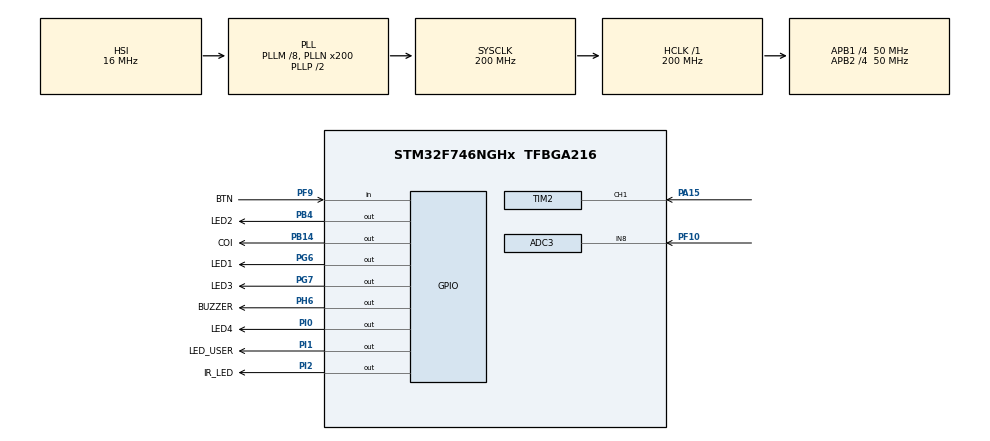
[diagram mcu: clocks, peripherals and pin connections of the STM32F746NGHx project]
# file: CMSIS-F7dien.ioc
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ADC3.Channel-0\#ChannelRegularConversion=ADC_CHANNEL_8
ADC3.ClockPrescaler=ADC_CLOCK_SYNC_PCLK_DIV6
ADC3.ContinuousConvMode=ENABLE
ADC3.DMAContinuousRequests=ENABLE
ADC3.NbrOfConversionFlag=1
ADC3.Rank-0\#ChannelRegularConversion=1
ADC3.SamplingTime-0\#ChannelRegularConversion=ADC_SAMPLETIME_480CYCLES
CORTEX_M7.CPU_DCache=Enabled
CORTEX_M7.CPU_ICache=Enabled
Dma.ADC3.0.Direction=DMA_PERIPH_TO_MEMORY
Dma.ADC3.0.FIFOMode=DMA_FIFOMODE_DISABLE
Dma.ADC3.0.Instance=DMA2_Stream0
Dma.ADC3.0.MemDataAlignment=DMA_MDATAALIGN_HALFWORD
Dma.ADC3.0.MemInc=DMA_MINC_ENABLE
Dma.ADC3.0.Mode=DMA_CIRCULAR
Dma.ADC3.0.PeriphDataAlignment=DMA_PDATAALIGN_HALFWORD
Dma.ADC3.0.PeriphInc=DMA_PINC_DISABLE
Dma.ADC3.0.Priority=DMA_PRIORITY_LOW
Dma.Request0=ADC3
Mcu.Family=STM32F7
Mcu.Name=STM32F746NGHx
Mcu.Package=TFBGA216
NVIC.DMA2_Stream0_IRQn=true\:0\:0\:false\:false\:true\:false\:true
NVIC.PriorityGroup=NVIC_PRIORITYGROUP_4
PA13.Mode=Serial_Wire
PA13.Signal=SYS_JTMS-SWDIO
PA14.Mode=Serial_Wire
PA14.Signal=SYS_JTCK-SWCLK
PA15.Signal=S_TIM2_CH1_ETR
PB14.GPIO_Label=COI
PB14.Signal=GPIO_Output
PB4.GPIO_Label=LED2
PB4.Signal=GPIO_Output
PF10.Mode=IN8
PF10.Signal=ADC3_IN8
PF9.GPIO_Label=BTN
PF9.Signal=GPIO_Input
PG6.GPIO_Label=LED1
PG6.Signal=GPIO_Output
PG7.GPIO_Label=LED3
PG7.Signal=GPIO_Output
PH6.GPIO_Label=BUZZER
PH6.GPIO_PuPd=GPIO_PULLDOWN
PH6.PinState=GPIO_PIN_RESET
PH6.Signal=GPIO_Output
PI0.GPIO_Label=LED4
PI0.Signal=GPIO_Output
PI1.GPIO_Label=LED_USER
PI1.Signal=GPIO_Output
PI2.GPIO_Label=IR_LED
PI2.Signal=GPIO_Output
ProjectManager.HeapSize=0x200
ProjectManager.StackSize=0x800
ProjectManager.TargetToolchain=STM32CubeIDE
RCC.AHBFreq_Value=200000000
RCC.APB1CLKDivider=RCC_HCLK_DIV4
RCC.APB1Freq_Value=50000000
RCC.APB1TimFreq_Value=100000000
RCC.APB2CLKDivider=RCC_HCLK_DIV4
RCC.APB2Freq_Value=50000000
RCC.APB2TimFreq_Value=100000000
RCC.CortexFreq_Value=200000000
RCC.HCLKFreq_Value=200000000
RCC.HSE_VALUE=25000000
RCC.HSI_VALUE=16000000
RCC.LSE_VALUE=32768
RCC.PLLM=8
RCC.PLLN=200
RCC.SYSCLKFreq_VALUE=200000000
RCC.SYSCLKSource=RCC_SYSCLKSOURCE_PLLCLK
RCC.USBFreq_Value=200000000
RCC.VCOOutputFreq_Value=400000000
SH.S_TIM2_CH1_ETR.0=TIM2_CH1,Input_Capture1_from_TI1
STMicroelectronics.X-CUBE-AI.5.2.0.ActivationBufferSizeList=59496
STMicroelectronics.X-CUBE-AI.5.2.0.ApplicationCcArtificialOoIntelligenceJjApplication=ApplicationTemplate
STMicroelectronics.X-CUBE-AI.5.2.0.HeapSize=0x200
STMicroelectronics.X-CUBE-AI.5.2.0.InternalRamActivationBufferMaxSize=AI_NETWORK_DATA_ACTIVATIONS_SIZE
STMicroelectronics.X-CUBE-AI.5.2.0.LatestDirectoryUsed-58929bd7b9af62fd93e2d39a7155d022ef8761deb050f1a1022ba4203e6859d0=E\:\\Dien_Project\\models
STMicroelectronics.X-CUBE-AI.5.2.0.MaximumNumberOfInputLayer=1
STMicroelectronics.X-CUBE-AI.5.2.0.MaximumNumberOfOutputLayer=1
STMicroelectronics.X-CUBE-AI.5.2.0.MaximumSizeOfInputLayer=AI_NETWORK_IN_1_SIZE_BYTES
STMicroelectronics.X-CUBE-AI.5.2.0.MaximumSizeOfOutputLayer=AI_NETWORK_OUT_1_SIZE_BYTES
STMicroelectronics.X-CUBE-AI.5.2.0.ModelActualCompression-58929bd7b9af62fd93e2d39a7155d022ef8761deb050f1a1022ba4203e6859d0=0.0
STMicroelectronics.X-CUBE-AI.5.2.0.ModelCompression-58929bd7b9af62fd93e2d39a7155d022ef8761deb050f1a1022ba4203e6859d0=1
STMicroelectronics.X-CUBE-AI.5.2.0.ModelFlashOccupation-58929bd7b9af62fd93e2d39a7155d022ef8761deb050f1a1022ba4203e6859d0=67176
STMicroelectronics.X-CUBE-AI.5.2.0.ModelHashList=58929bd7b9af62fd93e2d39a7155d022ef8761deb050f1a1022ba4203e6859d0
STMicroelectronics.X-CUBE-AI.5.2.0.ModelKind-58929bd7b9af62fd93e2d39a7155d022ef8761deb050f1a1022ba4203e6859d0=KERAS
STMicroelectronics.X-CUBE-AI.5.2.0.ModelMacc-58929bd7b9af62fd93e2d39a7155d022ef8761deb050f1a1022ba4203e6859d0=3376694
STMicroelectronics.X-CUBE-AI.5.2.0.ModelName-58929bd7b9af62fd93e2d39a7155d022ef8761deb050f1a1022ba4203e6859d0=network
STMicroelectronics.X-CUBE-AI.5.2.0.ModelNameList=network
STMicroelectronics.X-CUBE-AI.5.2.0.ModelRamOccupation-58929bd7b9af62fd93e2d39a7155d022ef8761deb050f1a1022ba4203e6859d0=59496
STMicroelectronics.X-CUBE-AI.5.2.0.ModelStructureFile-58929bd7b9af62fd93e2d39a7155d022ef8761deb050f1a1022ba4203e6859d0=E\:\\Dien_Project\\models\\model_1_3_21.h5
STMicroelectronics.X-CUBE-AI.5.2.0.ModelType-58929bd7b9af62fd93e2d39a7155d022ef8761deb050f1a1022ba4203e6859d0=Saved model
STMicroelectronics.X-CUBE-AI.5.2.0.StackSize=0x800
STMicroelectronics.X-CUBE-AI.5.2.0.ValidationInputFile-58929bd7b9af62fd93e2d39a7155d022ef8761deb050f1a1022ba4203e6859d0=E\:\\Dien_Project\\X_test_mel.csv
STMicroelectronics.X-CUBE-AI.5.2.0.ValidationOutputFile-58929bd7b9af62fd93e2d39a7155d022ef8761deb050f1a1022ba4203e6859d0=E\:\\Dien_Project\\y_test_mel.csv
STMicroelectronics.X-CUBE-AI.5.2.0.WorkingBufferStartAddrList=0xFFFFFFFF
STMicroelectronics.X-CUBE-AI.5.2.0.XAaCUBEAaAICcArtificialOoIntelligenceJjCore=true
TIM2.Channel-Input_Capture1_from_TI1=TIM_CHANNEL_1
TIM2.ICFilter_CH1=15
TIM2.ICPolarity_CH1=TIM_INPUTCHANNELPOLARITY_BOTHEDGE
TIM2.Prescaler=100
VP_CRC_VS_CRC.Mode=CRC_Activate
VP_STMicroelectronics.X-CUBE-AI_VS_ArtificialOoIntelligenceJjApplication_5.2.0.Mode=ArtificialOoIntelligenceJjApplication
VP_STMicroelectronics.X-CUBE-AI_VS_ArtificialOoIntelligenceJjXAaCUBEAaAI_5.2.0.Mode=ArtificialOoIntelligenceJjXAaCUBEAaAI
VP_TIM2_VS_ClockSourceINT.Mode=Internal
board=custom

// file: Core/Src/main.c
/* USER CODE BEGIN Header */
/**
  ******************************************************************************
  * @file           : main.c
  * @brief          : Main program body
  ******************************************************************************
  * @attention
  *
  * <h2><center>&copy; Copyright (c) 2021 STMicroelectronics.
  * All rights reserved.</center></h2>
  *
  * This software component is licensed by ST under BSD 3-Clause license,
  * the "License"; You may not use this file except in compliance with the
  * License. You may obtain a copy of the License at:
  *                        opensource.org/licenses/BSD-3-Clause
  *
  ******************************************************************************
  */
/* USER CODE END Header */
#include "main.h"
#include "app_x-cube-ai.h"

/* USER CODE BEGIN Includes */
#include "arm_math.h"
#include "feature_extraction.h"
#include "string.h"
#include <stdlib.h>
#include "math_helper.h"
/* USER CODE END Includes */

/* USER CODE BEGIN PTD */
//-----MelSpectrogram---//
#define HOPLENGTH 		 	512
#define FILL_BUFFER_SIZE 	1024
#define NFFT             	1024
#define NMELS            	30
#define NAUDIO 		   		16896
#define ADC_BUF_LEN 		16896
#define ADCbit		     	12
#define SPECTROGRAM_ROWS 	NMELS
#define SPECTROGRAM_COLS 	32
#define n_label 			10

/* USER CODE END PTD */

/* USER CODE BEGIN PD */
static float32_t aSpectrogram[SPECTROGRAM_ROWS * SPECTROGRAM_COLS];
static float32_t aColBuffer[SPECTROGRAM_ROWS];
static uint32_t SpectrColIndex;
float32_t aWorkingBuffer1[NFFT];

static arm_rfft_fast_instance_f32 S_Rfft;
static MelFilterTypeDef           S_MelFilter;
static SpectrogramTypeDef         S_Spectr;
static MelSpectrogramTypeDef      S_MelSpectr;
/* USER CODE END PD */

/* USER CODE BEGIN PM */
float32_t data_out[10];
uint16_t ADC_buffer[ADC_BUF_LEN];
uint16_t ADC_buffer_sort[ADC_BUF_LEN];
uint32_t ind=0,write=0;
uint32_t i=0;
uint32_t ColIndex=0;
float32_t pBuffer[FILL_BUFFER_SIZE];
uint32_t t1 = 0,t2 ,t, wake = 0, action = 0;
float32_t sample, sample2;
float max_output;
int max_output_ind;
int confirm2;
int confirm1=0;
int confirm3=0;

//--------IR Var---------------//

uint32_t input_capture=0;
uint8_t start=0;
uint32_t array[70]={};
uint8_t array_index=0;
uint16_t time_array[69]={};
//uint16_t us;
uint8_t unstacking=0;
uint8_t send=0;
uint32_t data;
uint8_t thoat_capture=0;
uint32_t us=1000000;
uint8_t count=0;

/* USER CODE END PM */

ADC_HandleTypeDef hadc3;
DMA_HandleTypeDef hdma_adc3;

CRC_HandleTypeDef hcrc;

TIM_HandleTypeDef htim2;

void SystemClock_Config(void);
static void MX_GPIO_Init(void);
static void MX_DMA_Init(void);
static void MX_ADC3_Init(void);
static void MX_CRC_Init(void);
static void MX_TIM2_Init(void);
/* USER CODE BEGIN PFP */
static void PowerTodB(float32_t *pSpectrogram);
void Sort_ADC_buffer(void);
void Mel_array(void);
void Find_max_output_ind();
void Wakeup();
void buzzer_beep();
void buzzer_beep2();
void delay_us(uint16_t us);
void mark(uint16_t time);
void space(uint16_t time);
void sendRaw(uint16_t buf[], uint8_t len, uint8_t khz);
int32_t receive_data(void);

uint16_t  maychieu[67]={9070,4400,680,1570,630,1610,660,470,660,470,660,470,650,470
					,660,470,660,1590,660,1590,660,460,660,1590,690,440,660,1590,
					660,490,660,1590,630,490,640,470,680,450,650,470,660,470,660,1590,660,460,
					660,490,640,1590,660,1590,660,1590,630,1620,680,1570,650,
					470,690,1560,660,1590,660,490,640};   // chuoi bit cua remote may ON/OFF may chieu

uint16_t den[] = {9000,4460,660,500,660,500,670,500,600,500,660,500,660,
					500,670,500,660,500,660,1590,660,1580,660,1590,660,1580,660,
					1580,670,1580,660,1580,670,1580,660,670,670,500,660,1580,660,
					500,670,500,660,500,660,1590,660,500,660,500,670,1580,660,500,660,
					1590,660,1580,670,1580,660,500,660,1590,630};  // so 1 cua remote

uint16_t tivi[] = {9160,4460,630,560,610,550,610,560,600,560,610,560
					,600,560,600,570,600,560,610,1640,600,1640,610,1640,640,
					1640,600,1640,610,1640,610,1640,600,1640,610,560,
					600,1640,610,1640,610,560,600,560,610,560,600,1640
					,610,560,600,1670,580,580,580,590,580,1670,580,
					1660,580,1670,580,580,590,1660,580};   // so 2 cua remote

uint16_t dieuhoa[253]={530,1460,550,440,560,430,570,430,560,430,560,1420,570,1420,570,420,570,1420,560,1430,560,1430,560,1450,530,1450,530,1460,560,1420,
                       570,1420,560,430,570,430,560,430,560,1430,560,1420,570,1420,560,440,550,460,540,460,530,460,480,510,530,1460,560,430,560,430,570,1420,560,
               1430,560,430,560,430,570,1420,560,1430,560,430,560,440,560,450,540,450,510,490,480,510,530,460,560,1430,560,1430,560,1420,570,1420,560,460,
          //96
               560,440,560,430,560,430,570,430,560,430,560,430,570,1420,560,1430,560,1420,560,1430,560,2930,3030,8900,550,1450,510,
               490,530,460,560,430,570,430,560,430,560,430,570,430,560,430,560,1430,560,430,560,430,570,1420,560,440,560,1430,550,1450,500,1490,530,1450,
               570,1420,560,1430,560,430,560,430,570,430,560,430,560,430,570,430,560,430,560,440,560,450,540,450,540,460,480,510,510,490,530,460,560,
               430,560,430,570,430,560,430,560,430,570,430,560,430,560,430,570,430,560,430,560,440,560,430,560,460,530,460,540,450,480,520,530,
               460,530,460,560,440,560,430,560,430,570,430,560,2920,3040,8860,580,1430,560,430,560,440,560,430,560,430,560,460,540,450,540,460,500};

//-----Mel Spectrogram ----//
static void Preprocessing_Init(void);
/* USER CODE END PFP */

int main(void)
{

  /* Enable I-Cache---------------------------------------------------------*/
  SCB_EnableICache();

  /* Enable D-Cache---------------------------------------------------------*/
  SCB_EnableDCache();

  /* MCU Configuration--------------------------------------------------------*/

  /* Reset of all peripherals, Initializes the Flash interface and the Systick. */
  HAL_Init();

  /* Configure the system clock */
  SystemClock_Config();

  /* Initialize all configured peripherals */
  MX_GPIO_Init();
  MX_DMA_Init();
  MX_ADC3_Init();
  MX_CRC_Init();
  MX_TIM2_Init();
  MX_X_CUBE_AI_Init();
  /* USER CODE BEGIN 2 */
  Preprocessing_Init();
  SpectrColIndex = 0;
  HAL_ADC_Start_DMA(&hadc3, (uint32_t *)ADC_buffer, ADC_BUF_LEN);
  HAL_TIM_IC_Start_IT(&htim2,TIM_CHANNEL_1);
  HAL_Delay(1000);

  /* USER CODE END 2 */

  /* Infinite loop */
  /* USER CODE BEGIN WHILE */
  while (1)
  {
	  ind=hdma_adc3.Instance->NDTR;
	  write=ADC_BUF_LEN-ind;
	  Sort_ADC_buffer();
	  Mel_array();
	  PowerTodB(aSpectrogram);
	  ai_run(aSpectrogram, data_out);
	  Find_max_output_ind();
	  Wakeup();

    /* USER CODE END WHILE */

  //MX_X_CUBE_AI_Process();
  }
}

void SystemClock_Config(void)
{
  RCC_OscInitTypeDef RCC_OscInitStruct = {0};
  RCC_ClkInitTypeDef RCC_ClkInitStruct = {0};

  /** Configure the main internal regulator output voltage
  */
  __HAL_RCC_PWR_CLK_ENABLE();
  __HAL_PWR_VOLTAGESCALING_CONFIG(PWR_REGULATOR_VOLTAGE_SCALE1);
  /** Initializes the RCC Oscillators according to the specified parameters
  * in the RCC_OscInitTypeDef structure.
  */
  RCC_OscInitStruct.OscillatorType = RCC_OSCILLATORTYPE_HSI;
  RCC_OscInitStruct.HSIState = RCC_HSI_ON;
  RCC_OscInitStruct.HSICalibrationValue = RCC_HSICALIBRATION_DEFAULT;
  RCC_OscInitStruct.PLL.PLLState = RCC_PLL_ON;
  RCC_OscInitStruct.PLL.PLLSource = RCC_PLLSOURCE_HSI;
  RCC_OscInitStruct.PLL.PLLM = 8;
  RCC_OscInitStruct.PLL.PLLN = 200;
  RCC_OscInitStruct.PLL.PLLP = RCC_PLLP_DIV2;
  RCC_OscInitStruct.PLL.PLLQ = 2;
  if (HAL_RCC_OscConfig(&RCC_OscInitStruct) != HAL_OK)
  {
    Error_Handler();
  }
  /** Activate the Over-Drive mode
  */
  if (HAL_PWREx_EnableOverDrive() != HAL_OK)
  {
    Error_Handler();
  }
  /** Initializes the CPU, AHB and APB buses clocks
  */
  RCC_ClkInitStruct.ClockType = RCC_CLOCKTYPE_HCLK|RCC_CLOCKTYPE_SYSCLK
                              |RCC_CLOCKTYPE_PCLK1|RCC_CLOCKTYPE_PCLK2;
  RCC_ClkInitStruct.SYSCLKSource = RCC_SYSCLKSOURCE_PLLCLK;
  RCC_ClkInitStruct.AHBCLKDivider = RCC_SYSCLK_DIV1;
  RCC_ClkInitStruct.APB1CLKDivider = RCC_HCLK_DIV4;
  RCC_ClkInitStruct.APB2CLKDivider = RCC_HCLK_DIV4;

  if (HAL_RCC_ClockConfig(&RCC_ClkInitStruct, FLASH_LATENCY_6) != HAL_OK)
  {
    Error_Handler();
  }
}

static void MX_ADC3_Init(void)
{

  ADC_ChannelConfTypeDef sConfig = {0};

  /** Configure the global features of the ADC (Clock, Resolution, Data Alignment and number of conversion)
  */
  hadc3.Instance = ADC3;
  hadc3.Init.ClockPrescaler = ADC_CLOCK_SYNC_PCLK_DIV6;
  hadc3.Init.Resolution = ADC_RESOLUTION_12B;
  hadc3.Init.ScanConvMode = ADC_SCAN_DISABLE;
  hadc3.Init.ContinuousConvMode = ENABLE;
  hadc3.Init.DiscontinuousConvMode = DISABLE;
  hadc3.Init.ExternalTrigConvEdge = ADC_EXTERNALTRIGCONVEDGE_NONE;
  hadc3.Init.ExternalTrigConv = ADC_SOFTWARE_START;
  hadc3.Init.DataAlign = ADC_DATAALIGN_RIGHT;
  hadc3.Init.NbrOfConversion = 1;
  hadc3.Init.DMAContinuousRequests = ENABLE;
  hadc3.Init.EOCSelection = ADC_EOC_SINGLE_CONV;
  if (HAL_ADC_Init(&hadc3) != HAL_OK)
  {
    Error_Handler();
  }
  /** Configure for the selected ADC regular channel its corresponding rank in the sequencer and its sample time.
  */
  sConfig.Channel = ADC_CHANNEL_8;
  sConfig.Rank = ADC_REGULAR_RANK_1;
  sConfig.SamplingTime = ADC_SAMPLETIME_480CYCLES;
  if (HAL_ADC_ConfigChannel(&hadc3, &sConfig) != HAL_OK)
  {
    Error_Handler();
  }

}

static void MX_CRC_Init(void)
{

  hcrc.Instance = CRC;
  hcrc.Init.DefaultPolynomialUse = DEFAULT_POLYNOMIAL_ENABLE;
  hcrc.Init.DefaultInitValueUse = DEFAULT_INIT_VALUE_ENABLE;
  hcrc.Init.InputDataInversionMode = CRC_INPUTDATA_INVERSION_NONE;
  hcrc.Init.OutputDataInversionMode = CRC_OUTPUTDATA_INVERSION_DISABLE;
  hcrc.InputDataFormat = CRC_INPUTDATA_FORMAT_BYTES;
  if (HAL_CRC_Init(&hcrc) != HAL_OK)
  {
    Error_Handler();
  }

}

static void MX_TIM2_Init(void)
{

  TIM_ClockConfigTypeDef sClockSourceConfig = {0};
  TIM_MasterConfigTypeDef sMasterConfig = {0};
  TIM_IC_InitTypeDef sConfigIC = {0};

  htim2.Instance = TIM2;
  htim2.Init.Prescaler = 100;
  htim2.Init.CounterMode = TIM_COUNTERMODE_UP;
  htim2.Init.Period = 4294967295;
  htim2.Init.ClockDivision = TIM_CLOCKDIVISION_DIV1;
  htim2.Init.AutoReloadPreload = TIM_AUTORELOAD_PRELOAD_DISABLE;
  if (HAL_TIM_Base_Init(&htim2) != HAL_OK)
  {
    Error_Handler();
  }
  sClockSourceConfig.ClockSource = TIM_CLOCKSOURCE_INTERNAL;
  if (HAL_TIM_ConfigClockSource(&htim2, &sClockSourceConfig) != HAL_OK)
  {
    Error_Handler();
  }
  if (HAL_TIM_IC_Init(&htim2) != HAL_OK)
  {
    Error_Handler();
  }
  sMasterConfig.MasterOutputTrigger = TIM_TRGO_RESET;
  sMasterConfig.MasterSlaveMode = TIM_MASTERSLAVEMODE_DISABLE;
  if (HAL_TIMEx_MasterConfigSynchronization(&htim2, &sMasterConfig) != HAL_OK)
  {
    Error_Handler();
  }
  sConfigIC.ICPolarity = TIM_INPUTCHANNELPOLARITY_BOTHEDGE;
  sConfigIC.ICSelection = TIM_ICSELECTION_DIRECTTI;
  sConfigIC.ICPrescaler = TIM_ICPSC_DIV1;
  sConfigIC.ICFilter = 15;
  if (HAL_TIM_IC_ConfigChannel(&htim2, &sConfigIC, TIM_CHANNEL_1) != HAL_OK)
  {
    Error_Handler();
  }

}

static void MX_DMA_Init(void)
{

  /* DMA controller clock enable */
  __HAL_RCC_DMA2_CLK_ENABLE();

  /* DMA interrupt init */
  /* DMA2_Stream0_IRQn interrupt configuration */
  HAL_NVIC_SetPriority(DMA2_Stream0_IRQn, 0, 0);
  HAL_NVIC_EnableIRQ(DMA2_Stream0_IRQn);

}

static void MX_GPIO_Init(void)
{
  GPIO_InitTypeDef GPIO_InitStruct = {0};

  /* GPIO Ports Clock Enable */
  __HAL_RCC_GPIOB_CLK_ENABLE();
  __HAL_RCC_GPIOA_CLK_ENABLE();
  __HAL_RCC_GPIOI_CLK_ENABLE();
  __HAL_RCC_GPIOG_CLK_ENABLE();
  __HAL_RCC_GPIOF_CLK_ENABLE();
  __HAL_RCC_GPIOH_CLK_ENABLE();

  /*Configure GPIO pin Output Level */
  HAL_GPIO_WritePin(GPIOB, LED2_Pin|COI_Pin, GPIO_PIN_RESET);

  /*Configure GPIO pin Output Level */
  HAL_GPIO_WritePin(GPIOI, IR_LED_Pin|LED_USER_Pin|LED4_Pin, GPIO_PIN_RESET);

  /*Configure GPIO pin Output Level */
  HAL_GPIO_WritePin(GPIOG, LED3_Pin|LED1_Pin, GPIO_PIN_RESET);

  /*Configure GPIO pin Output Level */
  HAL_GPIO_WritePin(BUZZER_GPIO_Port, BUZZER_Pin, GPIO_PIN_RESET);

  /*Configure GPIO pins : LED2_Pin COI_Pin */
  GPIO_InitStruct.Pin = LED2_Pin|COI_Pin;
  GPIO_InitStruct.Mode = GPIO_MODE_OUTPUT_PP;
  GPIO_InitStruct.Pull = GPIO_NOPULL;
  GPIO_InitStruct.Speed = GPIO_SPEED_FREQ_LOW;
  HAL_GPIO_Init(GPIOB, &GPIO_InitStruct);

  /*Configure GPIO pins : IR_LED_Pin LED_USER_Pin LED4_Pin */
  GPIO_InitStruct.Pin = IR_LED_Pin|LED_USER_Pin|LED4_Pin;
  GPIO_InitStruct.Mode = GPIO_MODE_OUTPUT_PP;
  GPIO_InitStruct.Pull = GPIO_NOPULL;
  GPIO_InitStruct.Speed = GPIO_SPEED_FREQ_LOW;
  HAL_GPIO_Init(GPIOI, &GPIO_InitStruct);

  /*Configure GPIO pins : LED3_Pin LED1_Pin */
  GPIO_InitStruct.Pin = LED3_Pin|LED1_Pin;
  GPIO_InitStruct.Mode = GPIO_MODE_OUTPUT_PP;
  GPIO_InitStruct.Pull = GPIO_NOPULL;
  GPIO_InitStruct.Speed = GPIO_SPEED_FREQ_LOW;
  HAL_GPIO_Init(GPIOG, &GPIO_InitStruct);

  /*Configure GPIO pin : BTN_Pin */
  GPIO_InitStruct.Pin = BTN_Pin;
  GPIO_InitStruct.Mode = GPIO_MODE_INPUT;
  GPIO_InitStruct.Pull = GPIO_NOPULL;
  HAL_GPIO_Init(BTN_GPIO_Port, &GPIO_InitStruct);

  /*Configure GPIO pin : BUZZER_Pin */
  GPIO_InitStruct.Pin = BUZZER_Pin;
  GPIO_InitStruct.Mode = GPIO_MODE_OUTPUT_PP;
  GPIO_InitStruct.Pull = GPIO_PULLDOWN;
  GPIO_InitStruct.Speed = GPIO_SPEED_FREQ_LOW;
  HAL_GPIO_Init(BUZZER_GPIO_Port, &GPIO_InitStruct);

}

/* USER CODE BEGIN 4 */
//-----Sắp xếp lại dữ liệu----//
void Sort_ADC_buffer()
{
	for(int i=0;i<ind;i++)
		   ADC_buffer_sort[i]=ADC_buffer[i+write];
	for(int i=0;i<write;i++)
		   ADC_buffer_sort[i+ind]=ADC_buffer[i];
}

//-----------Mảng MelSpectrogram 30x32-----//
void Mel_array()
{
	for (ColIndex=0; ColIndex<SPECTROGRAM_COLS; ColIndex++)
	{
		for(int i=0; i<1024; i++)
		  	pBuffer[i]=(ADC_buffer_sort[ColIndex*HOPLENGTH+i]-2047.0)/2047.0;
		MelSpectrogramColumn(&S_MelSpectr, pBuffer, aColBuffer);
		for (uint32_t j = 0; j < NMELS; j++)
		{
		  	aSpectrogram[j * SPECTROGRAM_COLS + ColIndex] = aColBuffer[j];
		}
	}
}

//-----Tìm vị trí và giá trị lớn nhất của output---//
void Find_max_output_ind()
{
	confirm2=max_output_ind;
	max_output_ind=0;
	max_output=data_out[0];
	for (int i=1; i<n_label;i++)
	{
		if(data_out[i]>max_output)
		{
			max_output=data_out[i];
			max_output_ind=i;
		}
	}
//	if ((max_output>0.8)&(max_output_ind==1||max_output_ind==3||max_output_ind==5||max_output_ind==7))
//		{
//			confirm1 = max_output_ind*11111;
//		}
//	else
		if ((max_output>0.9)&(max_output_ind!=0))
		{
			confirm1 = max_output_ind*111111;
		}
}

void Wakeup()
{
	//----wakeup bang cam bien dien dung-----//
	if (HAL_GPIO_ReadPin(BTN_GPIO_Port, BTN_Pin) == GPIO_PIN_SET)
	{
		wake = 9;
		HAL_GPIO_WritePin(LED_USER_GPIO_Port, LED_USER_Pin, GPIO_PIN_SET);
	}

	//----wakeup bang keyword "tro ly" ------//
	if((wake == 0)&&(max_output_ind==9)&&(max_output>=0.98))  // nếu trước đó chưa tìm thấy key đánh thức và đột nhiên timf được
		  {
			  wake = 9;  // xét key wake lên 1
			  t1 = HAL_GetTick();  // bắt đầu đếm time 5s
			  HAL_GPIO_WritePin(LED_USER_GPIO_Port, LED_USER_Pin, GPIO_PIN_SET);
			  HAL_Delay(200);
//			  if (wake == 9)
//			  	  buzzer_beep();
		  }

	//------ Neu dang duoc danh thuc-------//
	if (wake == 9)
		  {
			  Find_max_output_ind();    // tim key action
			  if((max_output_ind!=9)&&(max_output_ind!=0)&&(max_output>0.85))  // tìm xem có key action được phát ra hay không
			  {
				  action = max_output_ind;  // nếu có xét keyaction lên 1 rồi thực hiện action
				  switch (action)
				  {
				  case 1:
					  if (HAL_GPIO_ReadPin(LED1_GPIO_Port, LED1_Pin) == GPIO_PIN_SET)
						  {
						  HAL_GPIO_WritePin(LED_USER_GPIO_Port, LED_USER_Pin, GPIO_PIN_RESET);
						  	  HAL_Delay(500);
						   	   wake = 0;
						   	   break;
						  }
					  else
					  {
						  //buzzer_beep2();
						  HAL_GPIO_WritePin(LED1_GPIO_Port, LED1_Pin, GPIO_PIN_SET);
						  HAL_GPIO_WritePin(LED_USER_GPIO_Port, LED_USER_Pin, GPIO_PIN_RESET);
						  HAL_Delay(500);
						  wake = 0;
						  break;
					  }

				  case 2:
					  if (HAL_GPIO_ReadPin(LED2_GPIO_Port, LED2_Pin) == GPIO_PIN_SET)
						  {
						  HAL_GPIO_WritePin(LED_USER_GPIO_Port, LED_USER_Pin, GPIO_PIN_RESET);
						  HAL_Delay(500);
						  wake = 0;
						  break;
						  }
					  else
					  {
						  //buzzer_beep2();
						  HAL_GPIO_WritePin(LED2_GPIO_Port, LED2_Pin, GPIO_PIN_SET);
						  HAL_GPIO_WritePin(LED_USER_GPIO_Port, LED_USER_Pin, GPIO_PIN_RESET);
						  sendRaw(dieuhoa,253,38);
						  HAL_Delay(500);
						  wake = 0;
						  break;
					  }

				  case 3:
					  if (HAL_GPIO_ReadPin(LED3_GPIO_Port, LED3_Pin) == GPIO_PIN_SET)
						  {
						  HAL_GPIO_WritePin(LED_USER_GPIO_Port, LED_USER_Pin, GPIO_PIN_RESET);
						  HAL_Delay(500);
						  wake = 0;
						  break;
						  }
					  else
					 	  {
						  	  HAL_GPIO_WritePin(LED3_GPIO_Port, LED3_Pin, GPIO_PIN_SET);
						  	  sendRaw(maychieu,67,38);
							//  buzzer_beep2();
						  	HAL_GPIO_WritePin(LED_USER_GPIO_Port, LED_USER_Pin, GPIO_PIN_RESET);
							  HAL_Delay(500);
							  wake = 0;
							  break;
					 	  }

				  case 4:
					  if (HAL_GPIO_ReadPin(LED4_GPIO_Port, LED4_Pin) == GPIO_PIN_SET)
						  {
						  HAL_GPIO_WritePin(LED_USER_GPIO_Port, LED_USER_Pin, GPIO_PIN_RESET);
						  HAL_Delay(500);
						  wake = 0;
						  break;
						  }
					  else
					  	{
						  HAL_GPIO_WritePin(LED4_GPIO_Port, LED4_Pin, GPIO_PIN_SET);
						  //buzzer_beep2();
						  HAL_GPIO_WritePin(LED_USER_GPIO_Port, LED_USER_Pin, GPIO_PIN_RESET);
						  HAL_Delay(500);
						  wake = 0;
						  break;
					  	}
				  case 5:
					  if (HAL_GPIO_ReadPin(LED1_GPIO_Port, LED1_Pin) == GPIO_PIN_RESET)
						  {
						  HAL_GPIO_WritePin(LED_USER_GPIO_Port, LED_USER_Pin, GPIO_PIN_RESET);
						  HAL_Delay(500);
						  wake = 0;
						  break;
						  }
					  else
						  {
						  	  HAL_GPIO_WritePin(LED1_GPIO_Port, LED1_Pin, GPIO_PIN_RESET);
							  //buzzer_beep2();
						  	HAL_GPIO_WritePin(LED_USER_GPIO_Port, LED_USER_Pin, GPIO_PIN_RESET);
							  HAL_Delay(500);
							  wake = 0;
							  break;
						  }

				  case 6:
					  if (HAL_GPIO_ReadPin(LED2_GPIO_Port, LED2_Pin) == GPIO_PIN_RESET)
						  {
						  HAL_GPIO_WritePin(LED_USER_GPIO_Port, LED_USER_Pin, GPIO_PIN_RESET);

						  HAL_Delay(500);
						  wake = 0;
						  break;
						  }
					  else
					 	 {
						  	  HAL_GPIO_WritePin(LED2_GPIO_Port, LED2_Pin, GPIO_PIN_RESET);
							  //buzzer_beep2();
						  	HAL_GPIO_WritePin(LED_USER_GPIO_Port, LED_USER_Pin, GPIO_PIN_RESET);
						    sendRaw(dieuhoa,253,38);
							  HAL_Delay(500);
							  wake = 0;
							  break;
					 	 }

				  case 7:
					  if (HAL_GPIO_ReadPin(LED3_GPIO_Port, LED3_Pin) == GPIO_PIN_RESET)
						  {
						  HAL_GPIO_WritePin(LED_USER_GPIO_Port, LED_USER_Pin, GPIO_PIN_RESET);
						  HAL_Delay(500);
						  wake = 0;
						  break;
						  }
					  else
						  {
						  	  HAL_GPIO_WritePin(LED3_GPIO_Port, LED3_Pin, GPIO_PIN_RESET);
						  	  sendRaw(maychieu,67,38);
						  	  HAL_Delay(1000);
						  	  sendRaw(maychieu,67,38);
							  //buzzer_beep2();
							  HAL_Delay(500);
							  HAL_GPIO_WritePin(LED_USER_GPIO_Port, LED_USER_Pin, GPIO_PIN_RESET);
							  wake = 0;
							  break;
						  }

				  case 8:
					  if (HAL_GPIO_ReadPin(LED4_GPIO_Port, LED4_Pin) == GPIO_PIN_RESET)
						  {
						  HAL_GPIO_WritePin(LED_USER_GPIO_Port, LED_USER_Pin, GPIO_PIN_RESET);
						  HAL_Delay(500);
						  wake = 0;
						  break;
						  }
					  else
					 	{
						  	  HAL_GPIO_WritePin(LED4_GPIO_Port, LED4_Pin, GPIO_PIN_RESET);
							  //buzzer_beep2();
						  	  wake = 0;
						  	HAL_GPIO_WritePin(LED_USER_GPIO_Port, LED_USER_Pin, GPIO_PIN_RESET);
						  	  HAL_Delay(500);
							  break;
					 	}
				  }
			  }
			if ((HAL_GetTick()-t1 > 5000)&&(HAL_GPIO_ReadPin(BTN_GPIO_Port, BTN_Pin) == GPIO_PIN_RESET))
			{
				HAL_Delay(500);
				wake = 0;
				HAL_GPIO_WritePin(LED_USER_GPIO_Port, LED_USER_Pin, GPIO_PIN_RESET);
				//buzzer_beep();
			}
			t = 0;
		  }
}

//----------Power to dB----------//
static void PowerTodB(float32_t *pSpectrogram)
{
  float32_t max_mel_energy = 0.0f;
  uint32_t i;

  /* Find MelEnergy Scaling factor */
  for (i = 0; i < NMELS * SPECTROGRAM_COLS; i++) {
    max_mel_energy = (max_mel_energy > pSpectrogram[i]) ? max_mel_energy : pSpectrogram[i];
  }

  /* Scale Mel Energies */
  for (i = 0; i < NMELS * SPECTROGRAM_COLS; i++) {
    pSpectrogram[i] /= max_mel_energy;
  }

  /* Convert power spectrogram to decibel */
  for (i = 0; i < NMELS * SPECTROGRAM_COLS; i++) {
    pSpectrogram[i] = 10.0f * log10f(pSpectrogram[i]);
  }

  /* Threshold output to -80.0 dB */
  for (i = 0; i < NMELS * SPECTROGRAM_COLS; i++) {
    pSpectrogram[i] = (pSpectrogram[i] < -80.0f) ? (-80.0f) : (pSpectrogram[i]);
  }
}

//------BUZZER speaker beep-------//
void buzzer_beep()
{
	HAL_GPIO_WritePin(BUZZER_GPIO_Port, BUZZER_Pin, GPIO_PIN_SET);
	HAL_Delay(200);
	HAL_GPIO_WritePin(BUZZER_GPIO_Port, BUZZER_Pin, GPIO_PIN_RESET);
}

//-------------BUZZer beep beep-------------//
void buzzer_beep2()
{
	HAL_GPIO_WritePin(BUZZER_GPIO_Port, BUZZER_Pin, GPIO_PIN_SET);
	HAL_Delay(100);
	HAL_GPIO_WritePin(BUZZER_GPIO_Port, BUZZER_Pin, GPIO_PIN_RESET);
	HAL_Delay(100);
	HAL_GPIO_WritePin(BUZZER_GPIO_Port, BUZZER_Pin, GPIO_PIN_SET);
	HAL_Delay(100);
	HAL_GPIO_WritePin(BUZZER_GPIO_Port, BUZZER_Pin, GPIO_PIN_RESET);
}
//----------------------------IIRR--------------------//
//-----------delay us---------//
void delay_us(uint16_t us)
{
    __HAL_TIM_SET_COUNTER(&htim2,0);
    while (__HAL_TIM_GET_COUNTER(&htim2) < us);
}

//------------Mark Function--------/
void mark(uint16_t time)
{
  //uint16_t count=(uint16_t)time/(us/38000);
  //uint16_t count=(uint16_t)((uint32_t)(time*38000))/us;
  uint16_t idx=0;
  uint32_t a=time*38000;
  uint32_t count=a/us;
  uint32_t b=us/76000;
  while(idx < count)
  {
    //led on
    HAL_GPIO_WritePin(IR_LED_GPIO_Port, IR_LED_Pin,GPIO_PIN_SET );
    delay_us(b);
    HAL_GPIO_WritePin(IR_LED_GPIO_Port, IR_LED_Pin,GPIO_PIN_RESET );
    delay_us(b);
    idx=idx+1;
  }
}

//--------------Space function------------//
void space(uint16_t time)
{
  HAL_GPIO_WritePin(IR_LED_GPIO_Port, IR_LED_Pin,GPIO_PIN_RESET );
    if(time==0) return;
    delay_us(time);
}

//--------Send data------//
void sendRaw(uint16_t buf[], uint8_t len, uint8_t khz)
{
  //enableIROut(khz);

  for(uint16_t i = 0; i < len; i++)
  {
    if(i & 1) space(buf[i]);
    else mark(buf[i]);
  }

  space(0);
}

//---------------Giai ma IR ----------------------//
int32_t receive_data(void)
{
  uint32_t code=0;
  while (!(HAL_GPIO_ReadPin (GPIOA, GPIO_PIN_2)));  // wait for the pin to go high.. 9ms LOW
  while (HAL_GPIO_ReadPin (GPIOA, GPIO_PIN_2));

  for (int i=0; i<32; i++)
  {
    count=0;
    while (!(HAL_GPIO_ReadPin (GPIOA, GPIO_PIN_2))); // wait for pin to go high.. this is 562.5us LOW

    while ((HAL_GPIO_ReadPin (GPIOA, GPIO_PIN_2)))  // count the space length while the pin is high
   {
    count++;
    delay_us(7200);
   }
   if (count > 12) // if the space is more than 1.2 ms
   {
    code |= (1UL << (31-i));   // write 1
   }

   else code &= ~(1UL << (31-i));  // write 0
   array[i]=count;
  }
  return code;
}

//------Preprocessing Init-------//
static void Preprocessing_Init(void)
{
  /* Init RFFT */
  arm_rfft_fast_init_f32(&S_Rfft, 1024);

  /* Init Spectrogram */
  S_Spectr.pRfft    = &S_Rfft;
  S_Spectr.Type     = SPECTRUM_TYPE_POWER;
  S_Spectr.pWindow  = (float32_t *) hannWin_1024;
  S_Spectr.SampRate = 16000;
  S_Spectr.FrameLen = 1024;
  S_Spectr.FFTLen   = 1024;
  S_Spectr.pScratch = aWorkingBuffer1;

  /* Init Mel filter */
  S_MelFilter.pStartIndices = (uint32_t *) melFiltersStartIndices_1024_30;
  S_MelFilter.pStopIndices  = (uint32_t *) melFiltersStopIndices_1024_30;
  S_MelFilter.pCoefficients = (float32_t *) melFilterLut_1024_30;
  S_MelFilter.NumMels       = 30;

  /* Init MelSpectrogram */
  S_MelSpectr.SpectrogramConf = &S_Spectr;
  S_MelSpectr.MelFilter       = &S_MelFilter;
}

/* USER CODE END 4 */

void Error_Handler(void)
{
}

/************************ (C) COPYRIGHT STMicroelectronics *****END OF FILE****/
